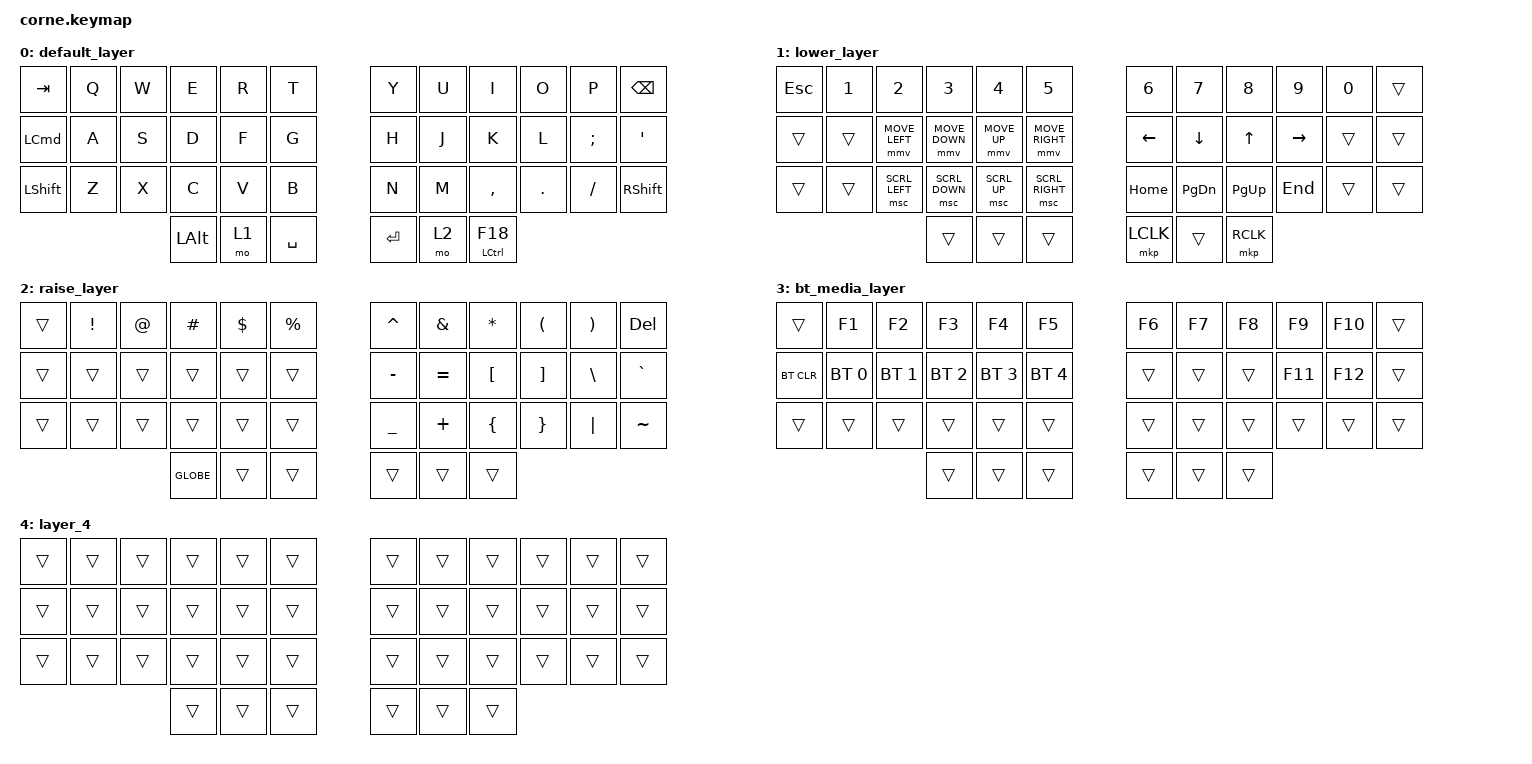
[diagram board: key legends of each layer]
/*
 * Copyright (c) 2020 The ZMK Contributors
 *
 * SPDX-License-Identifier: MIT
 */

#include <behaviors.dtsi>
#include <dt-bindings/zmk/bt.h>
#include <dt-bindings/zmk/keys.h>
#include <dt-bindings/zmk/pointing.h>

/ {
    conditional_layers {
        compatible = "zmk,conditional-layers";

        tri_layer {
            if-layers = <1 2>;
            then-layer = <3>;
        };
    };

    keymap {
        compatible = "zmk,keymap";

        default_layer {
            // -----------------------------------------------------------------------------------------
            // | TAB   |   Q   |   W   |   E   |   R   |   T   |       |   Y   |   U   |   I   |   O   |   P   | BKSP  |
            // | CTRL  |   A   |   S   |   D   |   F   |   G   |       |   H   |   J   |   K   |   L   |   ;   |  '    |
            // | SHFT  |   Z   |   X   |   C   |   V   |   B   |       |   N   |   M   |   ,   |   .   |   /   | ESC   |
            //                         |  ALT  |  LWR  |  SPC  |       |  ENT  |  RSE  |  ALT  |

            bindings = <
&kp TAB           &kp Q  &kp W  &kp E         &kp R  &kp T        &kp Y    &kp U  &kp I          &kp O    &kp P     &kp BSPC
&kp LEFT_COMMAND  &kp A  &kp S  &kp D         &kp F  &kp G        &kp H    &kp J  &kp K          &kp L    &kp SEMI  &kp SQT
&kp LSHFT         &kp Z  &kp X  &kp C         &kp V  &kp B        &kp N    &kp M  &kp COMMA      &kp DOT  &kp FSLH  &kp RSHFT
                                &kp LEFT_ALT  &mo 1  &kp SPACE    &kp RET  &mo 2  &mt LCTRL F18
            >;
        };

        lower_layer {
            // LEFT -----------------------------------------------------------------------------------------
            // | TAB   |   1   |   2   |   3   |   4   |   5   |       |   6   |   7   |   8   |   9   |   0   |       |
            // | CTRL  |       |       |       |       |       |       |  LFT  |  DWN  |  UP   |  RGT  |       |       |
            // | SHFT  |       |       |       |       |       |       |  HOME |  PGDW |  PGUP |  END  |       |       |
            //                         |       |[PRESS]|       |       |  ENT  |       |  ALT  |

            bindings = <
&kp ESCAPE  &kp N1  &kp N2          &kp N3          &kp N4        &kp N5             &kp N6     &kp N7         &kp N8       &kp N9     &kp N0  &trans
&trans      &trans  &mmv MOVE_LEFT  &mmv MOVE_DOWN  &mmv MOVE_UP  &mmv MOVE_RIGHT    &kp LEFT   &kp DOWN       &kp UP       &kp RIGHT  &trans  &trans
&trans      &trans  &msc SCRL_LEFT  &msc SCRL_DOWN  &msc SCRL_UP  &msc SCRL_RIGHT    &kp HOME   &kp PAGE_DOWN  &kp PAGE_UP  &kp END    &trans  &trans
                                    &trans          &trans        &trans             &mkp LCLK  &trans         &mkp RCLK
            >;
        };

        raise_layer {
            // RIGHT -----------------------------------------------------------------------------------------
            // | TAB   |   !   |   @   |   #   |   $   |   %   |       |   ^   |   &   |   *   |   (   |   )   | DEL   |
            // | CTRL  |       |       |       |       |       |       |   -   |   =   |   [   |   ]   |   \   |  `    |
            // | SHFT  |       |       |       |       |       |       |   _   |   +   |   {   |   }   |  '|'  |  ~    |
            //                         |  GUI  |       |  SPC  |       |       |[PRESS]|       |

            bindings = <
&trans  &kp EXCL  &kp AT  &kp HASH   &kp DLLR  &kp PRCNT    &kp CARET  &kp AMPS   &kp STAR  &kp LPAR  &kp RPAR  &kp DEL
&trans  &trans    &trans  &trans     &trans    &trans       &kp MINUS  &kp EQUAL  &kp LBKT  &kp RBKT  &kp BSLH  &kp GRAVE
&trans  &trans    &trans  &trans     &trans    &trans       &kp UNDER  &kp PLUS   &kp LBRC  &kp RBRC  &kp PIPE  &kp TILDE
                          &kp GLOBE  &trans    &trans       &trans     &trans     &trans
            >;
        };

        bt_media_layer {
            // BOTH -----------------------------------------------------------------------------------------
            // |       |  F1   |  F2   |  F3   |  F4   |  F5   |       |  F6   |  F7   |  F8   |  F9   |  F10  |      |
            // | BTCLR |  BT1  |  BT2  |  BT3  |  BT4  |  BT5  |       |       |       |       |  F11  |  F12  |      |
            // |       |       |       |       |       |       |       |       |       |       |       |       |      |
            //                         |       |[PRESS]|       |       |       |[PRESS]|       |

            bindings = <
&trans      &kp F1        &kp F2        &kp F3        &kp F4        &kp F5          &kp F6  &kp F7  &kp F8  &kp F9   &kp F10  &trans
&bt BT_CLR  &bt BT_SEL 0  &bt BT_SEL 1  &bt BT_SEL 2  &bt BT_SEL 3  &bt BT_SEL 4    &trans  &trans  &trans  &kp F11  &kp F12  &trans
&trans      &trans        &trans        &trans        &trans        &trans          &trans  &trans  &trans  &trans   &trans   &trans
                                        &trans        &trans        &trans          &trans  &trans  &trans
            >;
        };

        layer_4 {
            bindings = <
&trans  &trans  &trans  &trans  &trans  &trans    &trans  &trans  &trans  &trans  &trans  &trans
&trans  &trans  &trans  &trans  &trans  &trans    &trans  &trans  &trans  &trans  &trans  &trans
&trans  &trans  &trans  &trans  &trans  &trans    &trans  &trans  &trans  &trans  &trans  &trans
                        &trans  &trans  &trans    &trans  &trans  &trans
            >;
        };
    };
};
